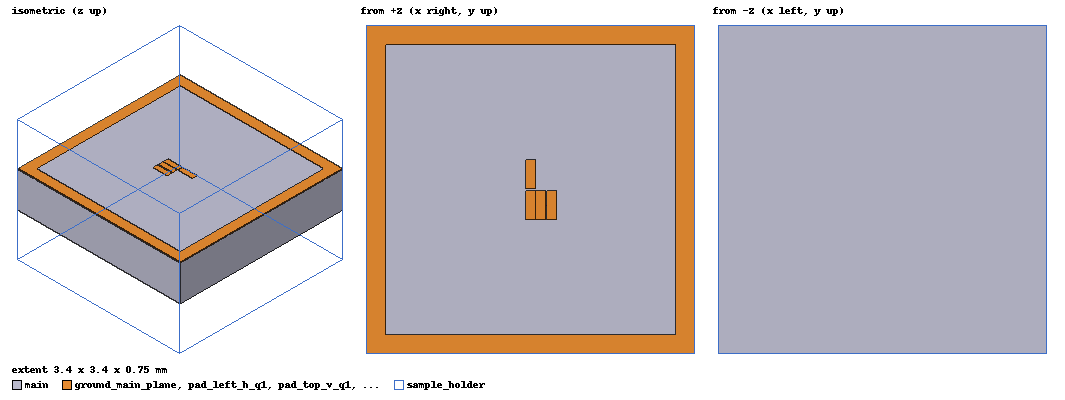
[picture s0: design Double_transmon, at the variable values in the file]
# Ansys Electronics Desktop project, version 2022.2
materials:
  vacuum: permittivity=1
  silicon: permittivity=11.9

design Double_transmon (HFSS, Eigenmode, model units mm)
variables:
  Lj = 11nH
  Cj = 10fF
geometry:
  pad_top_v_q1 = rectangle(corner=(-5e-05, 7.5e-06, 0), x_size=0.0001, y_size=0.0003)
  pad_bot_v_q1 = rectangle(corner=(-5e-05, -0.0003075, 0), x_size=0.0001, y_size=0.0003)
  pad_left_h_q1 = rectangle(corner=(5.2e-05, -0.0003075, 0), x_size=0.0001, y_size=0.0003)
  pad_right_h_q1 = rectangle(corner=(0.000167, -0.0003075, 0), x_size=0.0001, y_size=0.0003)
  rect_pk_q1 = rectangle(corner=(-0.0015, -0.0015, 0), x_size=0.003, y_size=0.003)
  JJ_rect_Lj_q1_rect_jj_v = rectangle(corner=(-5e-06, -7.5e-06, 0), x_size=1e-05, y_size=1.5e-05)
  JJ_Lj_q1_rect_jj_v_ = polyline((0, -7.5e-06, 0) (0, 7.5e-06, 0))
  JJ_rect_Lj_q1_rect_jj_h = rectangle(corner=(0.000152, -0.0001625, 0), x_size=1.5e-05, y_size=1e-05)
  JJ_Lj_q1_rect_jj_h_ = polyline((0.000152, -0.0001575, 0) (0.000167, -0.0001575, 0))
  ground_main_plane = rectangle(corner=(-0.0017, -0.0017, 0), x_size=0.0034, y_size=0.0034)
  main [silicon] = box(corner=(-0.0017, -0.0017, -0.00075), size=(0.0034, 0.0034, 0.00075))
  sample_holder [vacuum] = box(corner=(-0.0017, -0.0017, -0.00165), size=(0.0034, 0.0034, 0.00254))
  ground_main_plane.subtract(rect_pk_q1)
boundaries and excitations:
  Lj_Lj_q1_rect_jj_v: Lumped RLC Objects=JJ_rect_Lj_q1_rect_jj_v CurrentLine{(0, -0.0075, 0) -> (0, 0.0075, 0)} RLC_Type=Parallel Inductance=10nH
  Lj_Lj_q1_rect_jj_h: Lumped RLC Objects=JJ_rect_Lj_q1_rect_jj_h CurrentLine{(0.152, -0.1575, 0) -> (0.167, -0.1575, 0)} RLC_Type=Parallel Inductance=10nH
  PerfE: Perfect E Objects=[pad_top_v_q1, pad_bot_v_q1, pad_left_h_q1, pad_right_h_q1, ground_main_plane]
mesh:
  small_mesh: LengthBased Objects=[JJ_rect_Lj_q1_rect_jj_v, JJ_rect_Lj_q1_rect_jj_h] MaxLength=7um
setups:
  Setup: HfssEigen MinimumFrequency=1GHz NumModes=3 MaxDeltaFreq=0.5 ConvergeOnRealFreq=true MaximumPasses=10 MinimumPasses=1 MinimumConvergedPasses=1 PercentRefinement=30 BasisOrder=1
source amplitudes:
  #-10:1: 1 0deg
  #-10:2, #-10:3: 0 0deg
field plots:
  Mag_H1: H Field on Setup : LastAdaptive at Phase=0deg
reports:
  Freq. vs. pass: re(Mode(1)), re(Mode(2)), re(Mode(3)) vs Pass on Setup : AdaptivePass [Cj=10fF Lj=11nH]
